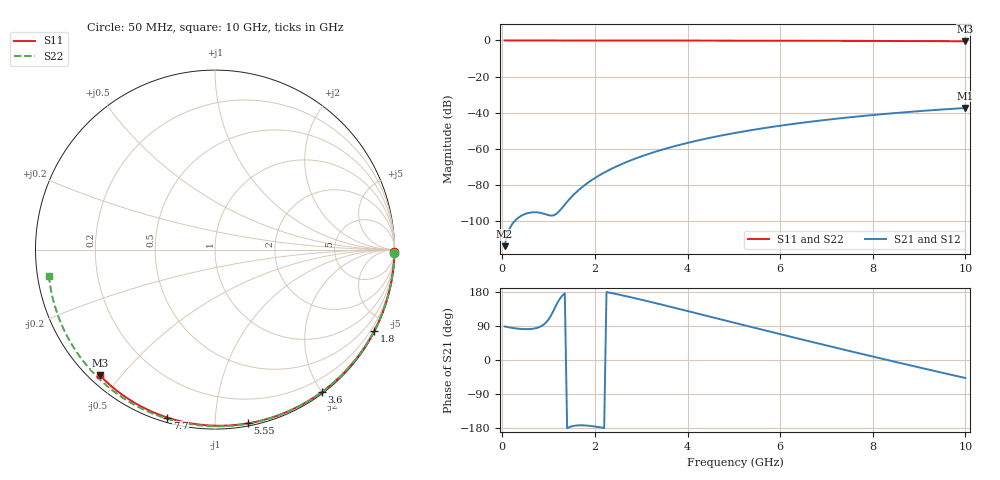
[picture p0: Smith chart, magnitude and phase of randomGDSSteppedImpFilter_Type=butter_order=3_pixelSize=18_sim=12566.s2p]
! freq	dB(S11)	phase(S11)	dB(S12)	phase(S12)
!  dB(S21)	phase(S21)	dB(S22)	phase(S22)
!S-par simulation data
#  GHz  S  DB  R 50
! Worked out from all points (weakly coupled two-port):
!   200 points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, 50 MHz to 10 GHz, reference 50 ohm
!   highest |S21| = -37.30 dB at 10 GHz (marker M1); lowest = -113.6 dB at 50 MHz (marker M2)
!   lowest |S11| = -0.4 dB at 10 GHz (marker M3), VSWR 38.88, Z = 1.54 - j22 ohm
!   |S11| at or under -10 dB: nowhere
!   |S22| runs from -0.6 to 0.0 dB; largest |S21 - S12| = 0
!   S11 on the Smith chart (normalised r, x): 50 MHz: open; 1.8 GHz: 0.04, -4.15; 3.6 GHz: 0.02, -2.00; 5.55 GHz: 0.02, -1.21; 7.7 GHz: 0.02, -0.76; 10 GHz: 0.03, -0.44
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0.05  -0.00 -0.8  -113.64 88.6  -113.64 88.6  -0.00 -1.0
0.45  -0.01 -6.9  -96.32 81.7  -96.32 81.7  -0.01 -8.9
0.85  -0.02 -12.9  -95.38 89.9  -95.38 89.9  -0.02 -16.7
1.3  -0.02 -19.7  -92.19 170.5  -92.19 170.5  -0.03 -25.4
1.75  -0.03 -26.4  -80.48 -172.4  -80.48 -172.4  -0.04 -34.0
1.8  -0.03 -27.1  -79.50 -172.8  -79.50 -172.8  -0.04 -34.9
1.95  -0.04 -29.3  -76.80 -174.7  -76.80 -174.7  -0.05 -37.8
2.1  -0.04 -31.5  -74.43 -177.4  -74.43 -177.4  -0.05 -40.6
2.3  -0.04 -34.5  -71.64 178.1  -71.64 178.1  -0.06 -44.3
2.5  -0.05 -37.4  -69.18 173.1  -69.18 173.1  -0.06 -48.0
2.9  -0.06 -43.1  -64.99 162.1  -64.99 162.1  -0.07 -55.3
3.4  -0.07 -50.2  -60.73 147.4  -60.73 147.4  -0.09 -64.3
3.6  -0.07 -53.0  -59.25 141.4  -59.25 141.4  -0.09 -67.8
4.3  -0.09 -62.7  -54.80 120.1  -54.80 120.1  -0.11 -80.0
5.05  -0.11 -72.7  -50.98 97.1  -50.98 97.1  -0.14 -92.5
5.55  -0.13 -79.2  -48.82 81.9  -48.82 81.9  -0.17 -100.7
6.1  -0.15 -86.2  -46.73 65.3  -46.73 65.3  -0.19 -109.5
6.7  -0.18 -93.7  -44.74 47.3  -44.74 47.3  -0.23 -119.0
7.7  -0.24 -105.8  -41.93 17.8  -41.93 17.8  -0.31 -134.6
8.35  -0.29 -113.5  -40.40 -1.0  -40.40 -1.0  -0.37 -144.7
9.2  -0.36 -123.3  -38.67 -25.2  -38.67 -25.2  -0.46 -158.1
10  -0.45 -132.4  -37.30 -47.6  -37.30 -47.6  -0.56 -171.1
